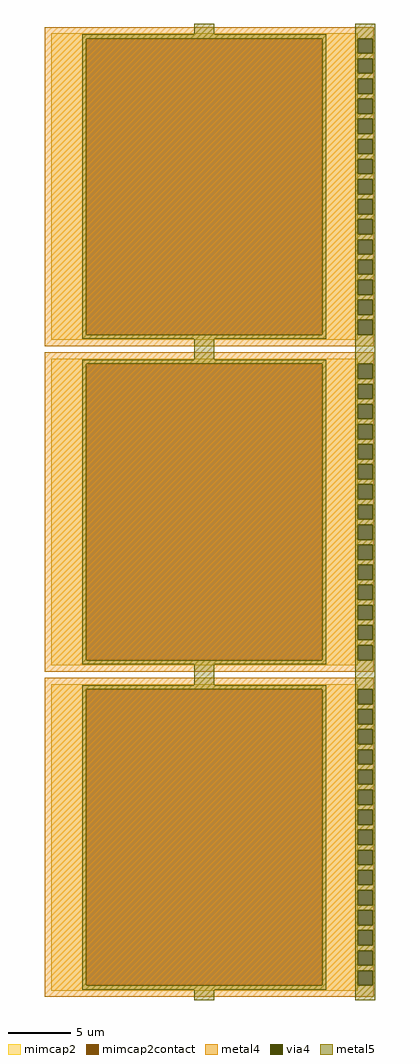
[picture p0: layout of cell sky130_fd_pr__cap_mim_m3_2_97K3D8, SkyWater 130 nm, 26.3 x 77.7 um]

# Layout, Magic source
magic
tech sky130A
magscale 1 2
<< metal4 >>
rect -2619 7538 2619 7720
rect -2619 7302 2363 7538
rect 2599 7302 2619 7538
rect -2619 7218 2619 7302
rect -2619 6982 2363 7218
rect 2599 6982 2619 7218
rect -2619 6898 2619 6982
rect -2619 6662 2363 6898
rect 2599 6662 2619 6898
rect -2619 6578 2619 6662
rect -2619 6342 2363 6578
rect 2599 6342 2619 6578
rect -2619 6258 2619 6342
rect -2619 6022 2363 6258
rect 2599 6022 2619 6258
rect -2619 5938 2619 6022
rect -2619 5702 2363 5938
rect 2599 5702 2619 5938
rect -2619 5618 2619 5702
rect -2619 5382 2363 5618
rect 2599 5382 2619 5618
rect -2619 5298 2619 5382
rect -2619 5062 2363 5298
rect 2599 5062 2619 5298
rect -2619 4978 2619 5062
rect -2619 4742 2363 4978
rect 2599 4742 2619 4978
rect -2619 4658 2619 4742
rect -2619 4422 2363 4658
rect 2599 4422 2619 4658
rect -2619 4338 2619 4422
rect -2619 4102 2363 4338
rect 2599 4102 2619 4338
rect -2619 4018 2619 4102
rect -2619 3782 2363 4018
rect 2599 3782 2619 4018
rect -2619 3698 2619 3782
rect -2619 3462 2363 3698
rect 2599 3462 2619 3698
rect -2619 3378 2619 3462
rect -2619 3142 2363 3378
rect 2599 3142 2619 3378
rect -2619 3058 2619 3142
rect -2619 2822 2363 3058
rect 2599 2822 2619 3058
rect -2619 2640 2619 2822
rect -2619 2358 2619 2540
rect -2619 2122 2363 2358
rect 2599 2122 2619 2358
rect -2619 2038 2619 2122
rect -2619 1802 2363 2038
rect 2599 1802 2619 2038
rect -2619 1718 2619 1802
rect -2619 1482 2363 1718
rect 2599 1482 2619 1718
rect -2619 1398 2619 1482
rect -2619 1162 2363 1398
rect 2599 1162 2619 1398
rect -2619 1078 2619 1162
rect -2619 842 2363 1078
rect 2599 842 2619 1078
rect -2619 758 2619 842
rect -2619 522 2363 758
rect 2599 522 2619 758
rect -2619 438 2619 522
rect -2619 202 2363 438
rect 2599 202 2619 438
rect -2619 118 2619 202
rect -2619 -118 2363 118
rect 2599 -118 2619 118
rect -2619 -202 2619 -118
rect -2619 -438 2363 -202
rect 2599 -438 2619 -202
rect -2619 -522 2619 -438
rect -2619 -758 2363 -522
rect 2599 -758 2619 -522
rect -2619 -842 2619 -758
rect -2619 -1078 2363 -842
rect 2599 -1078 2619 -842
rect -2619 -1162 2619 -1078
rect -2619 -1398 2363 -1162
rect 2599 -1398 2619 -1162
rect -2619 -1482 2619 -1398
rect -2619 -1718 2363 -1482
rect 2599 -1718 2619 -1482
rect -2619 -1802 2619 -1718
rect -2619 -2038 2363 -1802
rect 2599 -2038 2619 -1802
rect -2619 -2122 2619 -2038
rect -2619 -2358 2363 -2122
rect 2599 -2358 2619 -2122
rect -2619 -2540 2619 -2358
rect -2619 -2822 2619 -2640
rect -2619 -3058 2363 -2822
rect 2599 -3058 2619 -2822
rect -2619 -3142 2619 -3058
rect -2619 -3378 2363 -3142
rect 2599 -3378 2619 -3142
rect -2619 -3462 2619 -3378
rect -2619 -3698 2363 -3462
rect 2599 -3698 2619 -3462
rect -2619 -3782 2619 -3698
rect -2619 -4018 2363 -3782
rect 2599 -4018 2619 -3782
rect -2619 -4102 2619 -4018
rect -2619 -4338 2363 -4102
rect 2599 -4338 2619 -4102
rect -2619 -4422 2619 -4338
rect -2619 -4658 2363 -4422
rect 2599 -4658 2619 -4422
rect -2619 -4742 2619 -4658
rect -2619 -4978 2363 -4742
rect 2599 -4978 2619 -4742
rect -2619 -5062 2619 -4978
rect -2619 -5298 2363 -5062
rect 2599 -5298 2619 -5062
rect -2619 -5382 2619 -5298
rect -2619 -5618 2363 -5382
rect 2599 -5618 2619 -5382
rect -2619 -5702 2619 -5618
rect -2619 -5938 2363 -5702
rect 2599 -5938 2619 -5702
rect -2619 -6022 2619 -5938
rect -2619 -6258 2363 -6022
rect 2599 -6258 2619 -6022
rect -2619 -6342 2619 -6258
rect -2619 -6578 2363 -6342
rect 2599 -6578 2619 -6342
rect -2619 -6662 2619 -6578
rect -2619 -6898 2363 -6662
rect 2599 -6898 2619 -6662
rect -2619 -6982 2619 -6898
rect -2619 -7218 2363 -6982
rect 2599 -7218 2619 -6982
rect -2619 -7302 2619 -7218
rect -2619 -7538 2363 -7302
rect 2599 -7538 2619 -7302
rect -2619 -7720 2619 -7538
<< via4 >>
rect 2363 7302 2599 7538
rect 2363 6982 2599 7218
rect 2363 6662 2599 6898
rect 2363 6342 2599 6578
rect 2363 6022 2599 6258
rect 2363 5702 2599 5938
rect 2363 5382 2599 5618
rect 2363 5062 2599 5298
rect 2363 4742 2599 4978
rect 2363 4422 2599 4658
rect 2363 4102 2599 4338
rect 2363 3782 2599 4018
rect 2363 3462 2599 3698
rect 2363 3142 2599 3378
rect 2363 2822 2599 3058
rect 2363 2122 2599 2358
rect 2363 1802 2599 2038
rect 2363 1482 2599 1718
rect 2363 1162 2599 1398
rect 2363 842 2599 1078
rect 2363 522 2599 758
rect 2363 202 2599 438
rect 2363 -118 2599 118
rect 2363 -438 2599 -202
rect 2363 -758 2599 -522
rect 2363 -1078 2599 -842
rect 2363 -1398 2599 -1162
rect 2363 -1718 2599 -1482
rect 2363 -2038 2599 -1802
rect 2363 -2358 2599 -2122
rect 2363 -3058 2599 -2822
rect 2363 -3378 2599 -3142
rect 2363 -3698 2599 -3462
rect 2363 -4018 2599 -3782
rect 2363 -4338 2599 -4102
rect 2363 -4658 2599 -4422
rect 2363 -4978 2599 -4742
rect 2363 -5298 2599 -5062
rect 2363 -5618 2599 -5382
rect 2363 -5938 2599 -5702
rect 2363 -6258 2599 -6022
rect 2363 -6578 2599 -6342
rect 2363 -6898 2599 -6662
rect 2363 -7218 2599 -6982
rect 2363 -7538 2599 -7302
<< mimcap2 >>
rect -2519 7538 2361 7620
rect -2519 2822 -1957 7538
rect 1799 2822 2361 7538
rect -2519 2740 2361 2822
rect -2519 2358 2361 2440
rect -2519 -2358 -1957 2358
rect 1799 -2358 2361 2358
rect -2519 -2440 2361 -2358
rect -2519 -2822 2361 -2740
rect -2519 -7538 -1957 -2822
rect 1799 -7538 2361 -2822
rect -2519 -7620 2361 -7538
<< mimcap2contact >>
rect -1957 2822 1799 7538
rect -1957 -2358 1799 2358
rect -1957 -7538 1799 -2822
<< metal5 >>
rect -239 7604 81 7770
rect -2023 7538 1865 7604
rect -2023 2822 -1957 7538
rect 1799 2822 1865 7538
rect -2023 2756 1865 2822
rect 2321 7538 2641 7770
rect 2321 7302 2363 7538
rect 2599 7302 2641 7538
rect 2321 7218 2641 7302
rect 2321 6982 2363 7218
rect 2599 6982 2641 7218
rect 2321 6898 2641 6982
rect 2321 6662 2363 6898
rect 2599 6662 2641 6898
rect 2321 6578 2641 6662
rect 2321 6342 2363 6578
rect 2599 6342 2641 6578
rect 2321 6258 2641 6342
rect 2321 6022 2363 6258
rect 2599 6022 2641 6258
rect 2321 5938 2641 6022
rect 2321 5702 2363 5938
rect 2599 5702 2641 5938
rect 2321 5618 2641 5702
rect 2321 5382 2363 5618
rect 2599 5382 2641 5618
rect 2321 5298 2641 5382
rect 2321 5062 2363 5298
rect 2599 5062 2641 5298
rect 2321 4978 2641 5062
rect 2321 4742 2363 4978
rect 2599 4742 2641 4978
rect 2321 4658 2641 4742
rect 2321 4422 2363 4658
rect 2599 4422 2641 4658
rect 2321 4338 2641 4422
rect 2321 4102 2363 4338
rect 2599 4102 2641 4338
rect 2321 4018 2641 4102
rect 2321 3782 2363 4018
rect 2599 3782 2641 4018
rect 2321 3698 2641 3782
rect 2321 3462 2363 3698
rect 2599 3462 2641 3698
rect 2321 3378 2641 3462
rect 2321 3142 2363 3378
rect 2599 3142 2641 3378
rect 2321 3058 2641 3142
rect 2321 2822 2363 3058
rect 2599 2822 2641 3058
rect -239 2424 81 2756
rect -2023 2358 1865 2424
rect -2023 -2358 -1957 2358
rect 1799 -2358 1865 2358
rect -2023 -2424 1865 -2358
rect 2321 2358 2641 2822
rect 2321 2122 2363 2358
rect 2599 2122 2641 2358
rect 2321 2038 2641 2122
rect 2321 1802 2363 2038
rect 2599 1802 2641 2038
rect 2321 1718 2641 1802
rect 2321 1482 2363 1718
rect 2599 1482 2641 1718
rect 2321 1398 2641 1482
rect 2321 1162 2363 1398
rect 2599 1162 2641 1398
rect 2321 1078 2641 1162
rect 2321 842 2363 1078
rect 2599 842 2641 1078
rect 2321 758 2641 842
rect 2321 522 2363 758
rect 2599 522 2641 758
rect 2321 438 2641 522
rect 2321 202 2363 438
rect 2599 202 2641 438
rect 2321 118 2641 202
rect 2321 -118 2363 118
rect 2599 -118 2641 118
rect 2321 -202 2641 -118
rect 2321 -438 2363 -202
rect 2599 -438 2641 -202
rect 2321 -522 2641 -438
rect 2321 -758 2363 -522
rect 2599 -758 2641 -522
rect 2321 -842 2641 -758
rect 2321 -1078 2363 -842
rect 2599 -1078 2641 -842
rect 2321 -1162 2641 -1078
rect 2321 -1398 2363 -1162
rect 2599 -1398 2641 -1162
rect 2321 -1482 2641 -1398
rect 2321 -1718 2363 -1482
rect 2599 -1718 2641 -1482
rect 2321 -1802 2641 -1718
rect 2321 -2038 2363 -1802
rect 2599 -2038 2641 -1802
rect 2321 -2122 2641 -2038
rect 2321 -2358 2363 -2122
rect 2599 -2358 2641 -2122
rect -239 -2756 81 -2424
rect -2023 -2822 1865 -2756
rect -2023 -7538 -1957 -2822
rect 1799 -7538 1865 -2822
rect -2023 -7604 1865 -7538
rect 2321 -2822 2641 -2358
rect 2321 -3058 2363 -2822
rect 2599 -3058 2641 -2822
rect 2321 -3142 2641 -3058
rect 2321 -3378 2363 -3142
rect 2599 -3378 2641 -3142
rect 2321 -3462 2641 -3378
rect 2321 -3698 2363 -3462
rect 2599 -3698 2641 -3462
rect 2321 -3782 2641 -3698
rect 2321 -4018 2363 -3782
rect 2599 -4018 2641 -3782
rect 2321 -4102 2641 -4018
rect 2321 -4338 2363 -4102
rect 2599 -4338 2641 -4102
rect 2321 -4422 2641 -4338
rect 2321 -4658 2363 -4422
rect 2599 -4658 2641 -4422
rect 2321 -4742 2641 -4658
rect 2321 -4978 2363 -4742
rect 2599 -4978 2641 -4742
rect 2321 -5062 2641 -4978
rect 2321 -5298 2363 -5062
rect 2599 -5298 2641 -5062
rect 2321 -5382 2641 -5298
rect 2321 -5618 2363 -5382
rect 2599 -5618 2641 -5382
rect 2321 -5702 2641 -5618
rect 2321 -5938 2363 -5702
rect 2599 -5938 2641 -5702
rect 2321 -6022 2641 -5938
rect 2321 -6258 2363 -6022
rect 2599 -6258 2641 -6022
rect 2321 -6342 2641 -6258
rect 2321 -6578 2363 -6342
rect 2599 -6578 2641 -6342
rect 2321 -6662 2641 -6578
rect 2321 -6898 2363 -6662
rect 2599 -6898 2641 -6662
rect 2321 -6982 2641 -6898
rect 2321 -7218 2363 -6982
rect 2599 -7218 2641 -6982
rect 2321 -7302 2641 -7218
rect 2321 -7538 2363 -7302
rect 2599 -7538 2641 -7302
rect -239 -7770 81 -7604
rect 2321 -7770 2641 -7538
<< properties >>
string FIXED_BBOX -2619 2640 2461 7720
<< end >>
